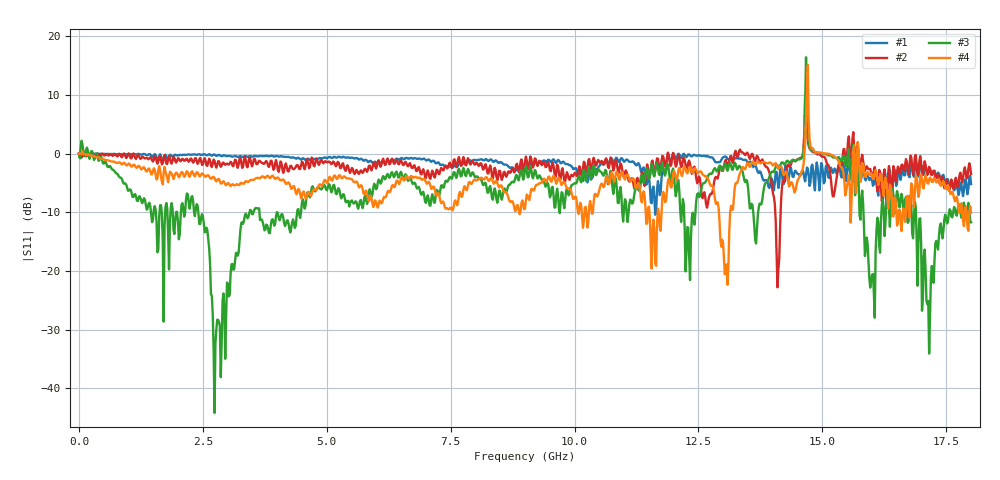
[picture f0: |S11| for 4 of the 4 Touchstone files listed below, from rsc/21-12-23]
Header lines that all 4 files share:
!Keysight Technologies N9917A: A.12.46
!TimeZone: (UTC-03:00) Buenos Aires!Model: N9917A
!Serial: MY56072049
!GPS Latitude:
!GPS Longitude:
!GPS TimeStamp: 0001-01-01 00:00:00Z
!GPS Seconds Since Last Read: 0
!Correction: S11(ON U)
!S1P File: Measurement: S11:
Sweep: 30 kHz to 18 GHz
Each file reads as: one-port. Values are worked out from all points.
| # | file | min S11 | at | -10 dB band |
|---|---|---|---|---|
| 1 | AbsN.s1p | -10.4 dB | 11.63 GHz | 13.08 MHz wide |
| 2 | Agua_destiladaN.s1p | -22.8 dB | 14.09 GHz | 108.6 MHz wide |
| 3 | Corto.s1p | -44.2 dB | 2.736 GHz | 1.032 GHz wide |
| 4 | GlicerinaN.s1p | -22.4 dB | 13.09 GHz | 227 MHz wide |
